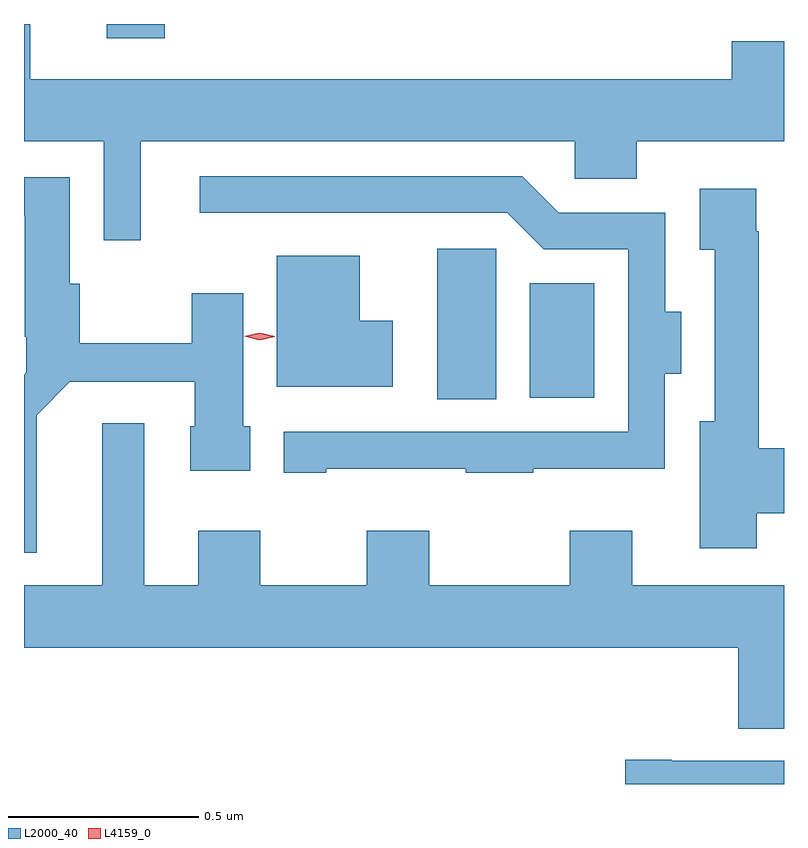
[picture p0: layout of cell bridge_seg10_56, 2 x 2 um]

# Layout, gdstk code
import gdstk
lib = gdstk.Library(unit=1e-6, precision=1e-09)
def R(c, l, rs):  # rectangles x0, y0, x1, y1
    for r in rs: c.add(gdstk.rectangle(r[:2], r[2:], *l))
def P(c, l, *ps):  # polygons
    for p in ps: c.add(gdstk.Polygon(p, *l))
L2000_40 = (2000, 40)
L4159_0 = (4159, 0)

bridge_seg10_56 = lib.new_cell('bridge_seg10_56')
R(bridge_seg10_56, L2000_40, [(852.197,1287.649,852.352,1288.045), (852.44,1287.653,852.61,1287.955), (851.327,1288.599,851.48,1288.637)])
P(bridge_seg10_56, L2000_40, [(851.416,1288.328),(852.558,1288.328),(852.558,1288.23),(852.722,1288.23),(852.722,1288.328),(853.109,1288.328),(853.109,1288.591),(852.971,1288.591),(852.971,1288.492),(851.125,1288.492),(851.125,1288.637),(851.109,1288.637),(851.109,1288.328),(851.319,1288.328),(851.319,1288.068),(851.416,1288.068)],
  [(851.905,1287.467),(852.271,1287.467),(852.271,1287.456),(852.449,1287.456),(852.449,1287.467),(852.795,1287.467),(852.795,1287.716),(852.838,1287.716),(852.838,1287.88),(852.796,1287.88),(852.796,1288.14),(852.516,1288.14),(852.42,1288.236),(851.571,1288.236),(851.571,1288.14),(852.381,1288.14),(852.477,1288.044),(852.699,1288.044),(852.699,1287.564),(851.793,1287.564),(851.793,1287.456),(851.905,1287.456)],
  [(851.143,1287.608),(851.23,1287.696),(851.558,1287.696),(851.558,1287.579),(851.546,1287.579),(851.546,1287.461),(851.704,1287.461),(851.704,1287.579),(851.686,1287.579),(851.686,1287.928),(851.551,1287.928),(851.551,1287.797),(851.256,1287.797),(851.256,1287.954),(851.23,1287.954),(851.23,1288.234),(851.109,1288.234),(851.109,1288.133),(851.111,1288.133),(851.111,1287.814),(851.115,1287.814),(851.115,1287.72),(851.109,1287.714),(851.109,1287.245),(851.143,1287.245)],
  [(853.037,1287.35),(853.109,1287.35),(853.109,1287.521),(853.043,1287.521),(853.043,1288.091),(853.036,1288.091),(853.036,1288.204),(852.887,1288.204),(852.887,1288.043),(852.927,1288.043),(852.927,1287.592),(852.887,1287.592),(852.887,1287.258),(853.037,1287.258)],
  [(852.079,1287.856),(851.992,1287.856),(851.992,1288.027),(851.774,1288.027),(851.774,1287.683),(852.079,1287.683)],
  [(853.109,1287.16),(852.709,1287.16),(852.709,1287.304),(852.545,1287.304),(852.545,1287.16),(852.175,1287.16),(852.175,1287.304),(852.011,1287.304),(852.011,1287.16),(851.731,1287.16),(851.731,1287.304),(851.567,1287.304),(851.567,1287.16),(851.425,1287.16),(851.425,1287.586),(851.315,1287.586),(851.315,1287.16),(851.109,1287.16),(851.109,1286.996),(852.989,1286.996),(852.989,1286.783),(853.109,1286.783)],
  [(853.109,1286.698),(852.814,1286.698),(852.814,1286.701),(852.691,1286.701),(852.691,1286.637),(853.109,1286.637)])
P(bridge_seg10_56, L4159_0, [(851.729,1287.805),(851.689,1287.815),(851.689,1287.815),(851.689,1287.815),(851.729,1287.825),(851.769,1287.815),(851.769,1287.814),(851.769,1287.814)])

lib.write_gds('bridge_seg10_56.gds')
